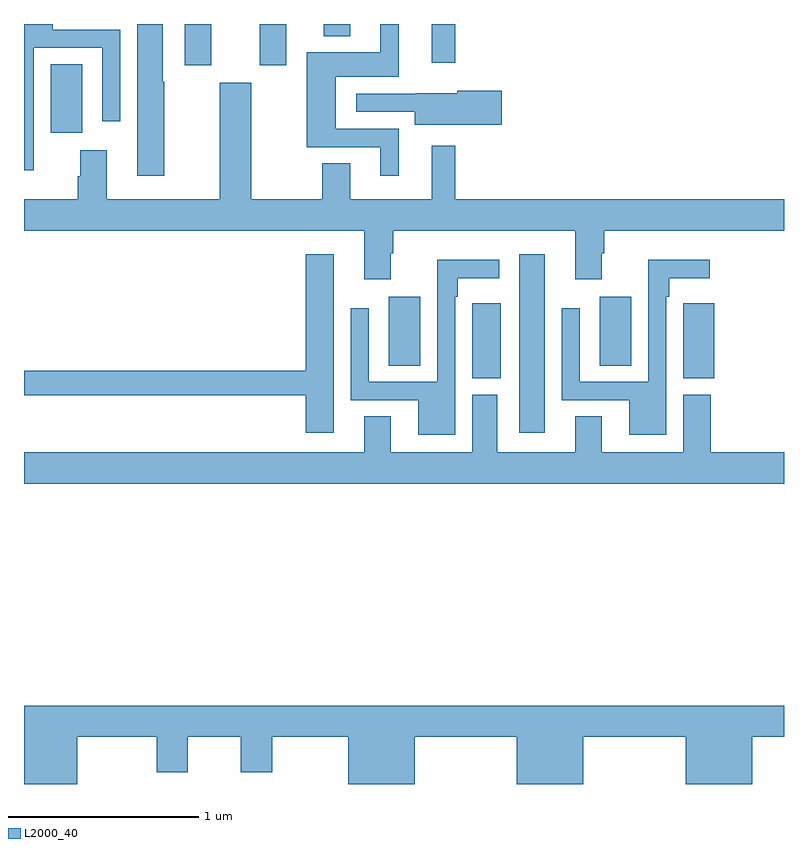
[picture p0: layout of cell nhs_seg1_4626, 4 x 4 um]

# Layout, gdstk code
import gdstk
lib = gdstk.Library(unit=1e-6, precision=1e-09)
def R(c, l, rs):  # rectangles x0, y0, x1, y1
    for r in rs: c.add(gdstk.rectangle(r[:2], r[2:], *l))
def P(c, l, *ps):  # polygons
    for p in ps: c.add(gdstk.Polygon(p, *l))
L2000_40 = (2000, 40)

nhs_seg1_4626 = lib.new_cell('nhs_seg1_4626')
R(nhs_seg1_4626, L2000_40, [(365.606,504.048,365.74,504.988), (365.36,504.334,365.509,504.73), (364.919,504.4,365.086,504.763), (366.029,504.4,366.196,504.763), (363.14,505.626,363.307,505.988), (363.845,505.983,363.985,506.199), (364.241,505.983,364.381,506.199), (365.147,505.995,365.269,506.199), (364.577,506.135,364.717,506.199)])
P(nhs_seg1_4626, L2000_40, [(363.051,506.073),(363.411,506.073),(363.411,505.686),(363.507,505.686),(363.507,506.169),(363.151,506.169),(363.151,506.199),(363,506.199),(363,505.43),(363.051,505.43)],
  [(363.738,505.895),(363.73,505.895),(363.73,506.199),(363.596,506.199),(363.596,505.401),(363.738,505.401)],
  [(364.972,505.647),(364.642,505.647),(364.642,505.922),(364.972,505.922),(364.972,506.199),(364.874,506.199),(364.874,506.05),(364.489,506.05),(364.489,505.551),(364.874,505.551),(364.874,505.401),(364.972,505.401)],
  [(364.93,504.992),(364.943,504.992),(364.943,505.112),(365.9,505.112),(365.9,504.855),(366.04,504.855),(366.04,504.992),(366.053,504.992),(366.053,505.112),(367,505.112),(367,505.276),(365.269,505.276),(365.269,505.558),(365.147,505.558),(365.147,505.276),(364.717,505.276),(364.717,505.466),(364.57,505.466),(364.57,505.276),(364.195,505.276),(364.195,505.891),(364.031,505.891),(364.031,505.276),(363.436,505.276),(363.436,505.534),(363.296,505.534),(363.296,505.397),(363.284,505.397),(363.284,505.276),(363,505.276),(363,505.112),(364.79,505.112),(364.79,504.855),(364.93,504.855)],
  [(365.515,505.847),(365.28,505.847),(365.28,505.834),(365.061,505.834),(365.061,505.833),(364.749,505.833),(364.749,505.737),(365.057,505.737),(365.057,505.669),(365.515,505.669)],
  [(364.63,504.988),(364.484,504.988),(364.484,504.374),(363,504.374),(363,504.246),(364.484,504.246),(364.484,504.048),(364.63,504.048)],
  [(366.381,504.764),(366.397,504.764),(366.397,504.86),(366.61,504.86),(366.61,504.958),(366.285,504.958),(366.285,504.315),(365.925,504.315),(365.925,504.703),(365.829,504.703),(365.829,504.219),(366.185,504.219),(366.185,504.038),(366.381,504.038)],
  [(365.271,504.764),(365.284,504.764),(365.284,504.86),(365.5,504.86),(365.5,504.958),(365.175,504.958),(365.175,504.315),(364.815,504.315),(364.815,504.703),(364.719,504.703),(364.719,504.219),(365.075,504.219),(365.075,504.038),(365.271,504.038)],
  [(366.632,504.73),(366.471,504.73),(366.471,504.617),(366.47,504.617),(366.47,504.334),(366.632,504.334)],
  [(367,503.944),(366.614,503.944),(366.614,504.249),(366.47,504.249),(366.47,503.944),(366.04,503.944),(366.04,504.134),(365.9,504.134),(365.9,503.944),(365.491,503.944),(365.491,504.249),(365.36,504.249),(365.36,503.944),(364.93,503.944),(364.93,504.134),(364.79,504.134),(364.79,503.944),(363,503.944),(363,503.78),(367,503.78)],
  [(363.28,502.448),(363.698,502.448),(363.698,502.26),(363.862,502.26),(363.862,502.448),(364.142,502.448),(364.142,502.26),(364.306,502.26),(364.306,502.448),(364.706,502.448),(364.706,502.199),(365.056,502.199),(365.056,502.448),(365.594,502.448),(365.594,502.199),(365.944,502.199),(365.944,502.448),(366.482,502.448),(366.482,502.199),(366.832,502.199),(366.832,502.448),(367,502.448),(367,502.612),(363,502.612),(363,502.199),(363.28,502.199)])

lib.write_gds('nhs_seg1_4626.gds')
